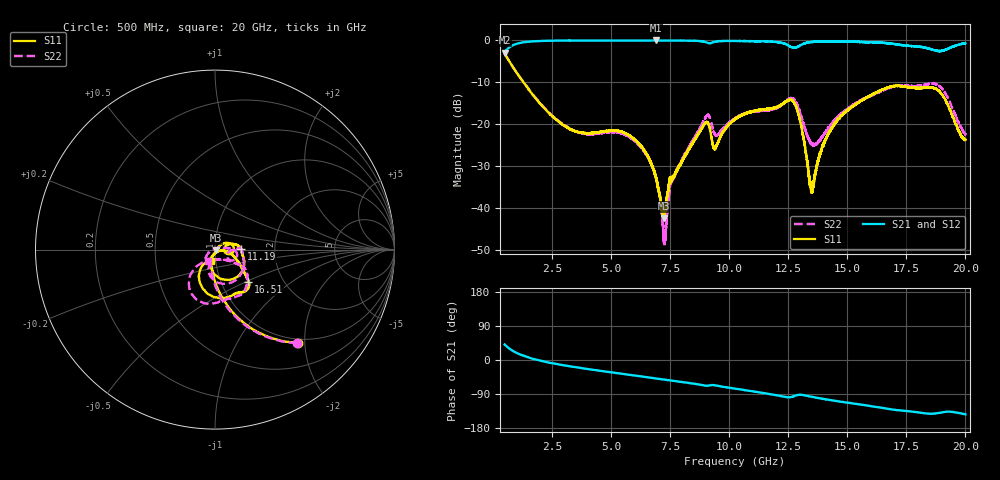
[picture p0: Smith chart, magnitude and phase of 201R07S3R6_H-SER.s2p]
!{201R07S3R6}
!Johanson Technology Inc.
!www.johansontechnology.com
!Test Board Conditions:
!Substrate Type  RO4350B
!Substrate Thickness  10 mil
!Substrate Dk  3.66
!TL Type: GCPW
!TL Trace Width  21 mil
!TL Gap  20 mil
!Electrode orientation  Horizontal
!DUT TOPOLOGY	SERIES
!Mounting Pad LxW  16x21 mil
# mhz S ma R 50
!Agilent Technologies,N5230A,MY45001966,A.07.50.67
!Agilent N5230A: A.07.50.67
! Created Mon Mar  9 15:06:18 2020
! 2 Port Network Data from SP1.SP block
! freq  magS11  angS11  magS21  angS21  magS12  angS12  magS22  angS22
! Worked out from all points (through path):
!   19501 points, 500 MHz to 20 GHz, reference 50 ohm
!   highest |S21| = -0.04 dB at 6.889 GHz (marker M1); lowest = -2.9 dB at 500 MHz (marker M2)
!   group delay of S21, straight-line fit = 23.2 ps
!   lowest |S11| = -42.4 dB at 7.225 GHz (marker M3), VSWR 1.02, Z = 50.7 - j0.389 ohm
!   |S11| at or under -10 dB: 1.296 GHz to end of sweep
!   |S22| runs from -49.0 to -3.2 dB; largest |S21 - S12| = 0.015
!   S11 on the Smith chart (normalised r, x): 500 MHz: 0.93, -1.85; 11.19 GHz: 1.34, +0.00; 16.51 GHz: 1.34, -0.52; 20 GHz: 0.95, -0.12
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500  0.6934 -48.5  0.7138 41.1  0.7158 41.1  0.6941 -48.6
1473  0.2716 -81.2  0.9591 7.6  0.9584 7.5  0.2747 -82.7
3750  0.07898 -107.6  0.9923 -21.3  0.9916 -21.3  0.0781 -112.2
5758  0.07405 -117.1  0.9916 -38.9  0.9914 -38.9  0.07097 -137.6
6889  0.02434 -103.0  0.9953 -48.6  0.9932 -48.7  0.02407 -164.5
7000  0.01752 -94.1  0.9944 -49.5  0.9941 -49.6  0.01705 -172.4
7225  0.007586 -30.4  0.9945 -51.4  0.9948 -51.5  0.004756 138.0
7317  0.01016 3.8  0.9933 -52.2  0.993 -52.3  0.005532 66.4
7584  0.02239 33.7  0.9927 -54.5  0.9937 -54.6  0.02094 31.3
8987  0.1027 10.7  0.9541 -67.5  0.954 -67.6  0.1187 -6.2
9407  0.05084 2.9  0.9616 -66.8  0.9617 -66.8  0.07415 -24.8
10250  0.1159 14.9  0.9805 -75.6  0.9803 -75.6  0.1182 1.5
11185  0.1459 0.7  0.9749 -84.4  0.9749 -84.4  0.1439 3.4
12736  0.1833 -66.9  0.8129 -95.6  0.8154 -95.9  0.2009 -72.2
13024  0.1043 -102.3  0.8742 -92.0  0.8731 -92.0  0.1319 -105.2
13500  0.01576 -56.2  0.9553 -97.3  0.9546 -97.3  0.0579 -89.6
13980  0.05525 -8.2  0.9675 -102.4  0.9753 -103.1  0.07443 -48.0
14530  0.1063 -18.8  0.9667 -108.3  0.9692 -108.4  0.116 -35.4
16510  0.2589 -44.0  0.9334 -126.7  0.9288 -126.8  0.2525 -44.8
16750  0.2731 -46.3  0.9225 -129.0  0.9126 -129.2  0.27 -49.6
18838  0.2539 -96.5  0.7457 -140.1  0.7479 -140.1  0.292 -112.1
20000  0.06583 -109.5  0.9172 -143.4  0.9184 -143.4  0.07561 -121.1
